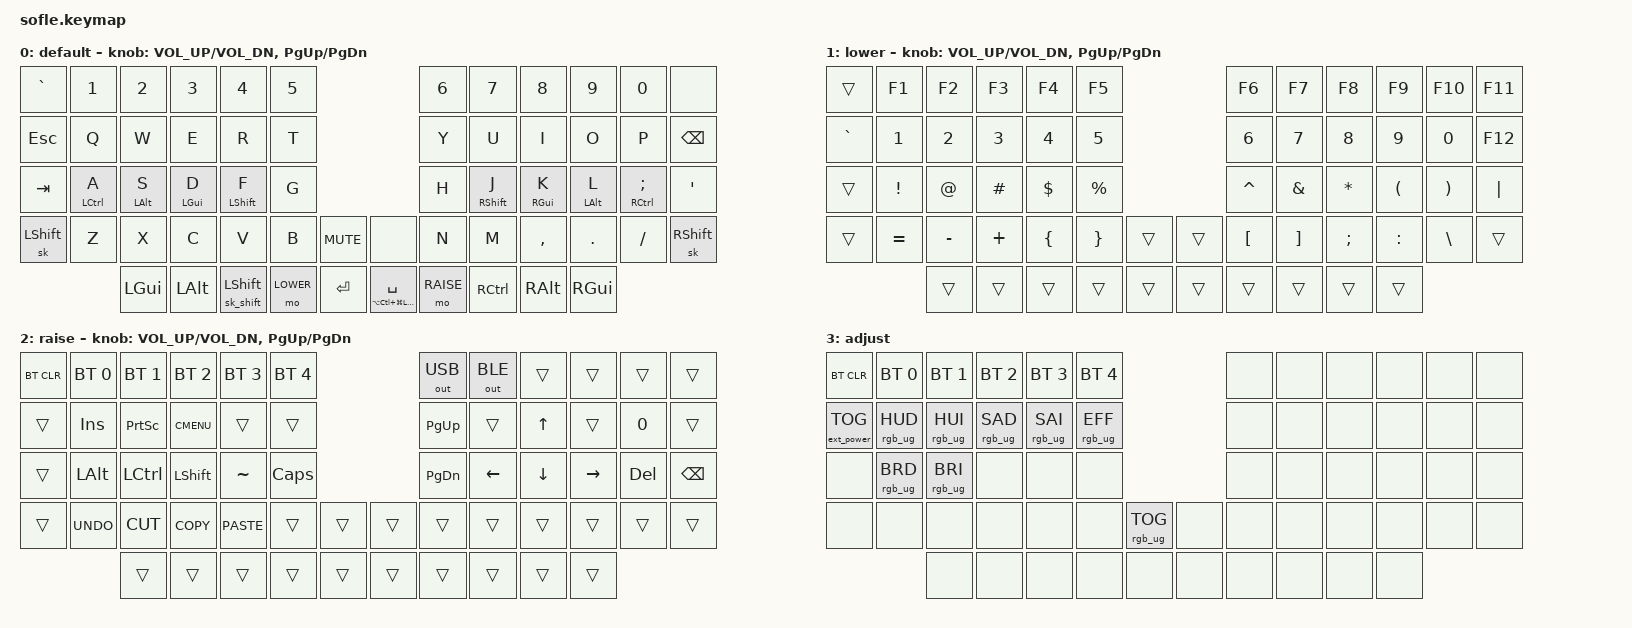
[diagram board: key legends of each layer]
/*
 * Copyright (c) 2020 The ZMK Contributors
 *
 * SPDX-License-Identifier: MIT
 */

#include <behaviors.dtsi>
#include <dt-bindings/zmk/bt.h>
#include <dt-bindings/zmk/ext_power.h>
#include <dt-bindings/zmk/keys.h>
#include <dt-bindings/zmk/outputs.h>
#include <dt-bindings/zmk/rgb.h>

#define BASE 0
#define LOWER 1
#define RAISE 2
#define ADJUST 3

/ {
    // Activate ADJUST layer by pressing raise and lower

    conditional_layers {
        compatible = "zmk,conditional-layers";

        adjust_layer {
            if-layers = <LOWER RAISE>;
            then-layer = <ADJUST>;
        };
    };

    behaviors {
        holdOrTap: holdOrTap {
            compatible = "zmk,behavior-hold-tap";
            label = "HOLDORTAP";
            bindings = <&kp>, <&kp>;

            #binding-cells = <2>;
            tapping-term-ms = <220>;
            hold-while-undecided;
            flavor = "balanced";
            quick-tap-ms = <175>;
            require-prior-idle-ms = <175>;
        };

        l_mt: l_mt {
            compatible = "zmk,behavior-hold-tap";
            label = "L_MT";
            bindings = <&kp>, <&kp>;

            #binding-cells = <2>;
            tapping-term-ms = <220>;
            hold-while-undecided;
            flavor = "balanced";
            quick-tap-ms = <175>;
            require-prior-idle-ms = <175>;
            hold-trigger-key-positions = <6 18 30 44 43 55 56 57 58 59 47 48 49 35 34 33 32 46 45 31 19 20 21 22 23 11 10 9 8 7 6 18 30 44 6 7 8 9 18 19 20 21 32>;
            hold-trigger-on-release;
        };

        r_mt: r_mt {
            compatible = "zmk,behavior-hold-tap";
            label = "R_MT";
            bindings = <&kp>, <&kp>;

            #binding-cells = <2>;
            tapping-term-ms = <220>;
            hold-while-undecided;
            flavor = "balanced";
            quick-tap-ms = <175>;
            require-prior-idle-ms = <175>;
            hold-trigger-on-release;
            hold-trigger-key-positions = <0 1 2 3 4 5 12 13 14 15 16 17 24 25 26 27 28 29 36 37 38 39 40 41 42 50 51 52 53 54>;
        };

        sk_shift: sk_shift {
            compatible = "zmk,behavior-sticky-key";
            label = "SK_SHIFT";
            bindings = <&sk>;
            #binding-cells = <1>;
            release-after-ms = <500>;
            quick-release;
            ignore-modifiers;
        };
    };

    keymap {
        compatible = "zmk,keymap";

        default_layer {
            display-name = "default";

            // ------------------------------------------------------------------------------------------------------------
            // |   `   |  1  |  2  |  3   |  4   |  5   |                   |  6   |  7    |  8    |  9   |   0   |       |
            // |  ESC  |  Q  |  W  |  E   |  R   |  T   |                   |  Y   |  U    |  I    |  O   |   P   | BKSPC |
            // |  TAB  |  A  |  S  |  D   |  F   |  G   |                   |  H   |  J    |  K    |  L   |   ;   |   '   |
            // | SHIFT |  Z  |  X  |  C   |  V   |  B   |  MUTE  |  |       |  N   |  M    |  ,    |  .   |   /   | SHIFT |
            //               | GUI | ALT  | CTRL | LOWER|  ENTER |  | SPACE | RAISE| CTRL  | ALT   | GUI  |

            bindings = <
&kp GRAVE  &kp N1         &kp N2        &kp N3            &kp N4            &kp N5                                                            &kp N6     &kp N7          &kp N8        &kp N9        &kp N0                 &none
&kp ESC    &kp Q          &kp W         &kp E             &kp R             &kp T                                                             &kp Y      &kp U           &kp I         &kp O         &kp P                  &kp BSPC
&kp TAB    &l_mt LCTRL A  &l_mt LALT S  &l_mt LEFT_GUI D  &l_mt LSHIFT F    &kp G                                                             &kp H      &r_mt RSHIFT J  &r_mt RGUI K  &r_mt LALT L  &r_mt RCTRL SEMICOLON  &kp SQT
&sk LSHFT  &kp Z          &kp X         &kp C             &kp V             &kp B      &kp C_MUTE    &none                                    &kp N      &kp M           &kp COMMA     &kp DOT       &kp FSLH               &sk RSHFT
                          &kp LGUI      &kp LALT          &sk_shift LSHIFT  &mo LOWER  &kp RET       &holdOrTap LA(LC(LG(LEFT_SHIFT))) SPACE  &mo RAISE  &kp RCTRL       &kp RALT      &kp RGUI
            >;

            sensor-bindings = <&inc_dec_kp C_VOL_UP C_VOL_DN &inc_dec_kp PG_UP PG_DN>;
        };

        lower_layer {
            display-name = "lower";

            // TODO: Some binds are waiting for shifted keycode support.
            // ------------------------------------------------------------------------------------------------------------
            // |       |  F1 |  F2 |  F3  |  F4  |  F5  |                   |  F6  |  F7   |  F8   |  F9  |  F10  |  F11  |
            // |   `   |  1  |  2  |  3   |  4   |  5   |                   |  6   |  7    |  8    |  9   |   0   |  F12  |
            // |       |  !  |  @  |  #   |  $   |  %   |                   |  ^   |  &    |  *    |  (   |   )   |   |   |
            // |       |  =  |  -  |  +   |  {   |  }   |        |  |       |  [   |  ]    |  ;    |  :   |   \   |       |
            //               |     |      |      |      |        |  |       |      |       |       |      |

            bindings = <
&trans     &kp F1     &kp F2     &kp F3    &kp F4    &kp F5                       &kp F6     &kp F7    &kp F8     &kp F9     &kp F10   &kp F11
&kp GRAVE  &kp N1     &kp N2     &kp N3    &kp N4    &kp N5                       &kp N6     &kp N7    &kp N8     &kp N9     &kp N0    &kp F12
&trans     &kp EXCL   &kp AT     &kp HASH  &kp DLLR  &kp PRCNT                    &kp CARET  &kp AMPS  &kp ASTRK  &kp LPAR   &kp RPAR  &kp PIPE
&trans     &kp EQUAL  &kp MINUS  &kp PLUS  &kp LBRC  &kp RBRC   &trans    &trans  &kp LBKT   &kp RBKT  &kp SEMI   &kp COLON  &kp BSLH  &trans
                      &trans     &trans    &trans    &trans     &trans    &trans  &trans     &trans    &trans     &trans
            >;

            sensor-bindings = <&inc_dec_kp C_VOL_UP C_VOL_DN &inc_dec_kp PG_UP PG_DN>;
        };

        raise_layer {
            display-name = "raise";

            // ------------------------------------------------------------------------------------------------------------
            // | BTCLR | BT1  | BT2  |  BT3  |  BT4  |  BT5 |                |      |      |       |      |       |       |
            // |       | INS  | PSCR | GUI   |       |      |                | PGUP |      |   ^   |      |       |       |
            // |       | ALT  | CTRL | SHIFT |       | CAPS |                | PGDN |   <- |   v   |  ->  |  DEL  | BKSPC |
            // |       | UNDO | CUT  | COPY  | PASTE |      |      |  |      |      |      |       |      |       |       |
            //                |      |       |       |      |      |  |      |      |      |       |      |

            bindings = <
&bt BT_CLR  &bt BT_SEL 0  &bt BT_SEL 1  &bt BT_SEL 2  &bt BT_SEL 3  &bt BT_SEL 4                    &out OUT_USB  &out OUT_BLE  &trans    &trans     &trans   &trans
&trans      &kp INS       &kp PSCRN     &kp K_CMENU   &trans        &trans                          &kp PG_UP     &trans        &kp UP    &trans     &kp N0   &trans
&trans      &kp LALT      &kp LCTRL     &kp LSHFT     &kp TILDE     &kp CLCK                        &kp PG_DN     &kp LEFT      &kp DOWN  &kp RIGHT  &kp DEL  &kp BSPC
&trans      &kp K_UNDO    &kp K_CUT     &kp K_COPY    &kp K_PASTE   &trans        &trans    &trans  &trans        &trans        &trans    &trans     &trans   &trans
                          &trans        &trans        &trans        &trans        &trans    &trans  &trans        &trans        &trans    &trans
            >;

            sensor-bindings = <&inc_dec_kp C_VOL_UP C_VOL_DN &inc_dec_kp PG_UP PG_DN>;
        };

        adjust_layer {
            // ----------------------------------------------------------------------------------------------------------------------------
            // | BTCLR  |  BT1    |  BT2    |   BT3   |   BT4   |   BT5   |                  |      |      |       |      |       |       |
            // | EXTPWR | RGB_HUD | RGB_HUI | RGB_SAD | RGB_SAI | RGB_EFF |                  |      |      |       |      |       |       |
            // |        | RGB_BRD | RGB_BRI |         |         |         |                  |      |      |       |      |       |       |
            // |        |         |         |         |         |         | RGB_TOG | |      |      |      |       |      |       |       |
            //                    |         |         |         |         |         | |      |      |      |       |      |

            display-name = "adjust";
            bindings = <
&bt BT_CLR         &bt BT_SEL 0     &bt BT_SEL 1     &bt BT_SEL 2     &bt BT_SEL 3     &bt BT_SEL 4                               &none  &none  &none  &none  &none  &none
&ext_power EP_TOG  &rgb_ug RGB_HUD  &rgb_ug RGB_HUI  &rgb_ug RGB_SAD  &rgb_ug RGB_SAI  &rgb_ug RGB_EFF                            &none  &none  &none  &none  &none  &none
&none              &rgb_ug RGB_BRD  &rgb_ug RGB_BRI  &none            &none            &none                                      &none  &none  &none  &none  &none  &none
&none              &none            &none            &none            &none            &none            &rgb_ug RGB_TOG    &none  &none  &none  &none  &none  &none  &none
                                    &none            &none            &none            &none            &none              &none  &none  &none  &none  &none
            >;
        };
    };
};
